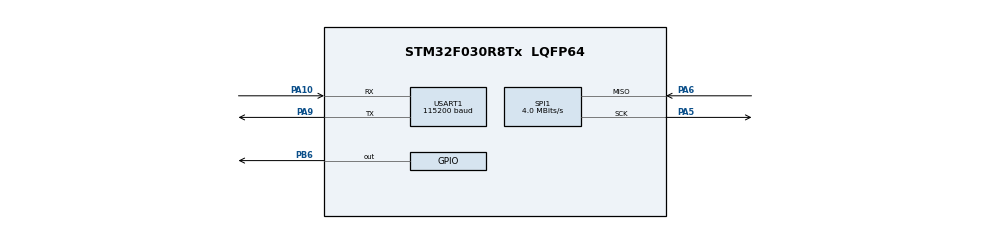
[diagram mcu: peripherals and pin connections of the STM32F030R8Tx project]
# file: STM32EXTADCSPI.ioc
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Mcu.Family=STM32F0
Mcu.Name=STM32F030R8Tx
Mcu.Package=LQFP64
PA10.Mode=Asynchronous
PA10.Signal=USART1_RX
PA5.Mode=RX_Only_Simplex_Unidirect_Master
PA5.Signal=SPI1_SCK
PA6.Mode=RX_Only_Simplex_Unidirect_Master
PA6.Signal=SPI1_MISO
PA9.Mode=Asynchronous
PA9.Signal=USART1_TX
PB6.Signal=GPIO_Output
ProjectManager.HeapSize=0x200
ProjectManager.StackSize=0x400
ProjectManager.TargetToolchain=STM32CubeIDE
SPI1.CLKPhase=SPI_PHASE_1EDGE
SPI1.CLKPolarity=SPI_POLARITY_HIGH
SPI1.CalculateBaudRate=4.0 MBits/s
SPI1.DataSize=SPI_DATASIZE_16BIT
SPI1.Direction=SPI_DIRECTION_2LINES_RXONLY
SPI1.FirstBit=SPI_FIRSTBIT_MSB
SPI1.Mode=SPI_MODE_MASTER
SPI1.VirtualType=VM_MASTER
USART1.BaudRate=115200
USART1.VirtualMode-Asynchronous=VM_ASYNC
board=custom

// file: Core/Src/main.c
/* USER CODE BEGIN Header */
/**
  ******************************************************************************
  * @file           : main.c
  * @brief          : Main program body
  ******************************************************************************
  * @attention
  *
  * Copyright (c) 2023 STMicroelectronics.
  * All rights reserved.
  *
  * This software is licensed under terms that can be found in the LICENSE file
  * in the root directory of this software component.
  * If no LICENSE file comes with this software, it is provided AS-IS.
  *
  ******************************************************************************
  */
/* USER CODE END Header */
#include "main.h"

/* USER CODE BEGIN Includes */
#include <stdio.h>
/* USER CODE END Includes */

SPI_HandleTypeDef hspi1;

UART_HandleTypeDef huart1;

void SystemClock_Config(void);
static void MX_GPIO_Init(void);
static void MX_SPI1_Init(void);
static void MX_USART1_UART_Init(void);

int main(void)
{
  /* USER CODE BEGIN 1 */
	//char test_buffer[50];
	//int test_buffer_length;
	float voltage = 0.0;
	char voltage_buffer[50];
	int voltage_buffer_length;
	int raw = 0;
	//float print_raw = 0.0;
	int raw_buffer_length;
	char raw_buffer[50];
	//char test_raw_buffer[50];
	//int test_raw_buffer_length;
	const int WRITE = 0x1;

  /* USER CODE END 1 */

  /* MCU Configuration--------------------------------------------------------*/

  /* Reset of all peripherals, Initializes the Flash interface and the Systick. */
  HAL_Init();

  /* Configure the system clock */
  SystemClock_Config();

  /* Initialize all configured peripherals */
  MX_GPIO_Init();
  MX_SPI1_Init();
  MX_USART1_UART_Init();

  /* Infinite loop */
  /* USER CODE BEGIN WHILE */
  float rawconvert = 0.0;
  while (1)
  {
	  // Chip Select set to default low
	  HAL_GPIO_WritePin(GPIOB, GPIO_PIN_6, GPIO_PIN_RESET);
	  //HAL_GPIO_WritePin(GPIOB, GPIO_PIN_6, GPIO_PIN_RESET);
	  // Transmit UART to verify everything is okay
	  //test_buffer_length = sprintf(test_buffer, "\nSPI Test #%d\r\n", i);
	  //HAL_UART_Transmit(&huart1, (uint8_t *) test_buffer, test_buffer_length, 100);
	  //i++;
	  // Read status register
	  //HAL_SPI_Receive(&hspi1, raw, 2, 100);
	  HAL_SPI_Transmit(&hspi1, (uint8_t*) &WRITE, 1, 1);
	  while (!(SPI1->SR));
	  raw = SPI1->DR;
	  //int MSB = ((raw & 0xFF00) >> 8);
	  //int LSB = (raw & 0xFF);
	  //int combined = LSB << 8 | MSB;
	  /*uint8_t MSB = ((raw & 0xFF00) >> 8);
	  uint8_t LSB = (raw & 0xFF);
	  raw = 0x0;
	  raw =	(raw | LSB);
	  raw = raw << 8;
	  raw = raw | MSB;*/
	  /*unsigned int reversed_num = 0;
	  unsigned int NO_OF_BITS = sizeof(raw) * 16;
	  for (int j = 0; j < NO_OF_BITS; j++) {
		  if ((raw &(1 & j))) {
			  reversed_num |= 1<<((NO_OF_BITS-1)-j);
		  }
	  }*/

	  HAL_GPIO_WritePin(GPIOB, GPIO_PIN_6, GPIO_PIN_SET);
	  //print_raw = rawconvert;
	  //Test values
	  //test_raw_buffer_length = sprintf(test_raw_buffer, "Raw value test:     %u\r\n", raw);
	  //HAL_UART_Transmit(&huart1, (uint8_t *) test_raw_buffer, test_raw_buffer_length, 100);
	  //print_raw = 5;
	  //Print raw value
	  raw_buffer_length = sprintf(raw_buffer, "Raw value:        %d\r\n", raw);
	  HAL_UART_Transmit(&huart1, (uint8_t *) raw_buffer, raw_buffer_length, 100);
	  //Calculate voltage
	  rawconvert = (float)raw;
	  voltage = (rawconvert/65535)*5;
	  //Print voltage
	  voltage_buffer_length = sprintf(voltage_buffer, "Voltage from ADC: %.6f\r\n", voltage);
	  HAL_UART_Transmit(&huart1, (uint8_t *) voltage_buffer, voltage_buffer_length, 100);
	  //Set a 2 second delay
	  HAL_Delay(50);
    /* USER CODE END WHILE */

  }
}

void SystemClock_Config(void)
{
  RCC_OscInitTypeDef RCC_OscInitStruct = {0};
  RCC_ClkInitTypeDef RCC_ClkInitStruct = {0};
  RCC_PeriphCLKInitTypeDef PeriphClkInit = {0};

  /** Initializes the RCC Oscillators according to the specified parameters
  * in the RCC_OscInitTypeDef structure.
  */
  RCC_OscInitStruct.OscillatorType = RCC_OSCILLATORTYPE_HSI;
  RCC_OscInitStruct.HSIState = RCC_HSI_ON;
  RCC_OscInitStruct.HSICalibrationValue = RCC_HSICALIBRATION_DEFAULT;
  RCC_OscInitStruct.PLL.PLLState = RCC_PLL_NONE;
  if (HAL_RCC_OscConfig(&RCC_OscInitStruct) != HAL_OK)
  {
    Error_Handler();
  }

  /** Initializes the CPU, AHB and APB buses clocks
  */
  RCC_ClkInitStruct.ClockType = RCC_CLOCKTYPE_HCLK|RCC_CLOCKTYPE_SYSCLK
                              |RCC_CLOCKTYPE_PCLK1;
  RCC_ClkInitStruct.SYSCLKSource = RCC_SYSCLKSOURCE_HSI;
  RCC_ClkInitStruct.AHBCLKDivider = RCC_SYSCLK_DIV1;
  RCC_ClkInitStruct.APB1CLKDivider = RCC_HCLK_DIV1;

  if (HAL_RCC_ClockConfig(&RCC_ClkInitStruct, FLASH_LATENCY_0) != HAL_OK)
  {
    Error_Handler();
  }
  PeriphClkInit.PeriphClockSelection = RCC_PERIPHCLK_USART1;
  PeriphClkInit.Usart1ClockSelection = RCC_USART1CLKSOURCE_PCLK1;
  if (HAL_RCCEx_PeriphCLKConfig(&PeriphClkInit) != HAL_OK)
  {
    Error_Handler();
  }
}

static void MX_SPI1_Init(void)
{

  /* SPI1 parameter configuration*/
  hspi1.Instance = SPI1;
  hspi1.Init.Mode = SPI_MODE_MASTER;
  hspi1.Init.Direction = SPI_DIRECTION_2LINES_RXONLY;
  hspi1.Init.DataSize = SPI_DATASIZE_16BIT;
  hspi1.Init.CLKPolarity = SPI_POLARITY_HIGH;
  hspi1.Init.CLKPhase = SPI_PHASE_1EDGE;
  hspi1.Init.NSS = SPI_NSS_SOFT;
  hspi1.Init.BaudRatePrescaler = SPI_BAUDRATEPRESCALER_2;
  hspi1.Init.FirstBit = SPI_FIRSTBIT_MSB;
  hspi1.Init.TIMode = SPI_TIMODE_DISABLE;
  hspi1.Init.CRCCalculation = SPI_CRCCALCULATION_DISABLE;
  hspi1.Init.CRCPolynomial = 7;
  hspi1.Init.CRCLength = SPI_CRC_LENGTH_DATASIZE;
  hspi1.Init.NSSPMode = SPI_NSS_PULSE_ENABLE;
  if (HAL_SPI_Init(&hspi1) != HAL_OK)
  {
    Error_Handler();
  }

}

static void MX_USART1_UART_Init(void)
{

  huart1.Instance = USART1;
  huart1.Init.BaudRate = 115200;
  huart1.Init.WordLength = UART_WORDLENGTH_8B;
  huart1.Init.StopBits = UART_STOPBITS_1;
  huart1.Init.Parity = UART_PARITY_NONE;
  huart1.Init.Mode = UART_MODE_TX_RX;
  huart1.Init.HwFlowCtl = UART_HWCONTROL_NONE;
  huart1.Init.OverSampling = UART_OVERSAMPLING_16;
  huart1.Init.OneBitSampling = UART_ONE_BIT_SAMPLE_DISABLE;
  huart1.AdvancedInit.AdvFeatureInit = UART_ADVFEATURE_NO_INIT;
  if (HAL_UART_Init(&huart1) != HAL_OK)
  {
    Error_Handler();
  }

}

static void MX_GPIO_Init(void)
{
  GPIO_InitTypeDef GPIO_InitStruct = {0};

  /* GPIO Ports Clock Enable */
  __HAL_RCC_GPIOA_CLK_ENABLE();
  __HAL_RCC_GPIOB_CLK_ENABLE();

  /*Configure GPIO pin Output Level */
  HAL_GPIO_WritePin(GPIOB, GPIO_PIN_6, GPIO_PIN_RESET);

  /*Configure GPIO pin : PB6 */
  GPIO_InitStruct.Pin = GPIO_PIN_6;
  GPIO_InitStruct.Mode = GPIO_MODE_OUTPUT_PP;
  GPIO_InitStruct.Pull = GPIO_NOPULL;
  GPIO_InitStruct.Speed = GPIO_SPEED_FREQ_LOW;
  HAL_GPIO_Init(GPIOB, &GPIO_InitStruct);

}

void Error_Handler(void)
{
  __disable_irq();
  while (1)
  {
  }
}
